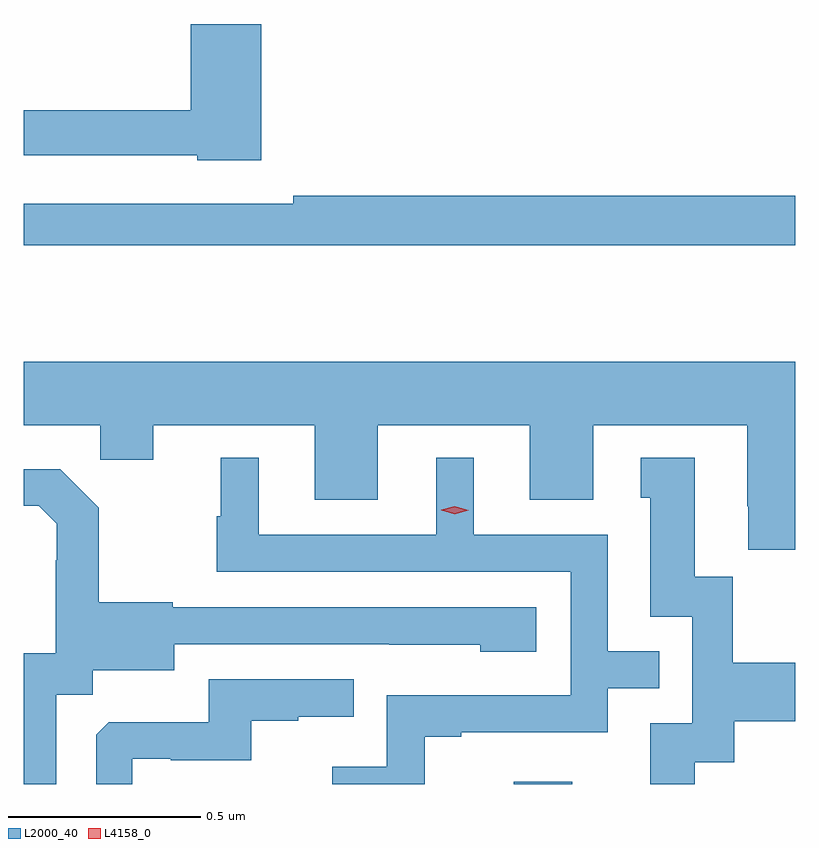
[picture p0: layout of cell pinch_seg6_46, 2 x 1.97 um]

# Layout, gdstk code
import gdstk
lib = gdstk.Library(unit=1e-6, precision=1e-09)
def R(c, l, rs):  # rectangles x0, y0, x1, y1
    for r in rs: c.add(gdstk.rectangle(r[:2], r[2:], *l))
def P(c, l, *ps):  # polygons
    for p in ps: c.add(gdstk.Polygon(p, *l))
L2000_40 = (2000, 40)
L4158_0 = (4158, 0)

pinch_seg6_46 = lib.new_cell('pinch_seg6_46')
R(pinch_seg6_46, L2000_40, [(963.149,993.025,963.301,993.031)])
P(pinch_seg6_46, L2000_40, [(962.495,994.996),(962.312,994.996),(962.312,994.772),(961.879,994.772),(961.879,994.656),(962.328,994.656),(962.328,994.643),(962.495,994.643)],
  [(963.879,994.55),(962.578,994.55),(962.578,994.53),(961.879,994.53),(961.879,994.422),(963.879,994.422)],
  [(963.879,994.12),(961.879,994.12),(961.879,993.956),(962.077,993.956),(962.077,993.866),(962.215,993.866),(962.215,993.956),(962.633,993.956),(962.633,993.762),(962.797,993.762),(962.797,993.956),(963.191,993.956),(963.191,993.762),(963.355,993.762),(963.355,993.956),(963.755,993.956),(963.755,993.745),(963.758,993.745),(963.758,993.633),(963.879,993.633)],
  [(963.619,993.082),(963.721,993.082),(963.721,993.188),(963.879,993.188),(963.879,993.34),(963.717,993.34),(963.717,993.563),(963.619,993.563),(963.619,993.871),(963.479,993.871),(963.479,993.768),(963.503,993.768),(963.503,993.459),(963.612,993.459),(963.612,993.183),(963.503,993.183),(963.503,993.025),(963.619,993.025)],
  [(962.919,993.147),(963.013,993.147),(963.013,993.159),(963.393,993.159),(963.393,993.273),(963.527,993.273),(963.527,993.369),(963.393,993.369),(963.393,993.672),(963.046,993.672),(963.046,993.871),(962.948,993.871),(962.948,993.672),(962.488,993.672),(962.488,993.871),(962.39,993.871),(962.39,993.72),(962.379,993.72),(962.379,993.576),(963.297,993.576),(963.297,993.255),(962.82,993.255),(962.82,993.07),(962.679,993.07),(962.679,993.025),(962.919,993.025)],
  [(961.963,993.256),(962.058,993.256),(962.058,993.32),(962.269,993.32),(962.269,993.387),(962.827,993.387),(962.827,993.386),(963.063,993.386),(963.063,993.368),(963.208,993.368),(963.208,993.483),(962.265,993.483),(962.265,993.496),(962.073,993.496),(962.073,993.741),(961.973,993.841),(961.879,993.841),(961.879,993.747),(961.917,993.747),(961.964,993.7),(961.964,993.605),(961.962,993.605),(961.962,993.364),(961.879,993.364),(961.879,993.025),(961.963,993.025)],
  [(962.16,993.09),(962.26,993.09),(962.26,993.087),(962.468,993.087),(962.468,993.189),(962.591,993.189),(962.591,993.2),(962.735,993.2),(962.735,993.297),(962.358,993.297),(962.358,993.185),(962.099,993.185),(962.067,993.153),(962.067,993.025),(962.16,993.025)])
P(pinch_seg6_46, L4158_0, [(962.997,993.725),(962.961,993.735),(962.961,993.736),(962.961,993.736),(962.997,993.745),(963.033,993.735),(963.033,993.735),(963.033,993.735)])

lib.write_gds('pinch_seg6_46.gds')
